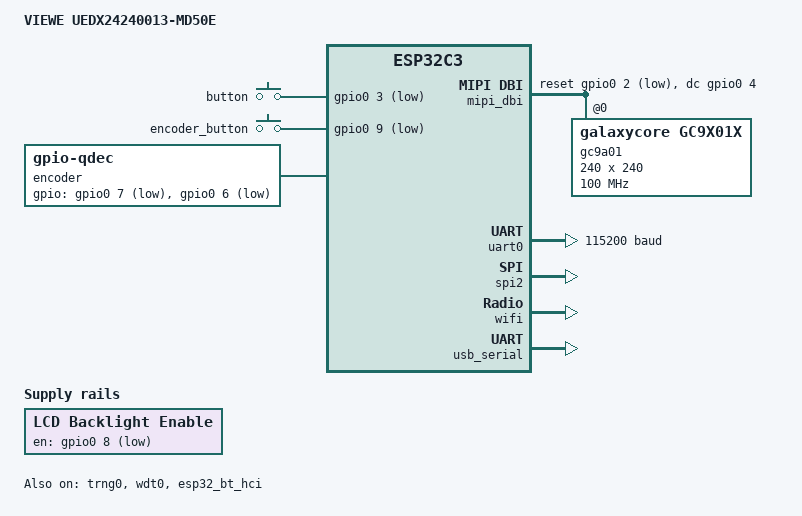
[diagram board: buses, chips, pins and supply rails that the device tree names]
/*
 * Copyright (c) 2024 Espressif Systems (Shanghai) Co., Ltd.
 * Copyright (c) 2026 VIEWE Display Co., Ltd.
 *
 * SPDX-License-Identifier: Apache-2.0
 */

/dts-v1/;

#include <zephyr/dt-bindings/display/panel.h>
#include <zephyr/dt-bindings/mipi_dbi/mipi_dbi.h>
#include <zephyr/dt-bindings/input/input-event-codes.h>
#include <zephyr/dt-bindings/input/esp32-touch-sensor-input.h>
#include <espressif/esp32c3/esp32c3_wroom_n4.dtsi>
#include <espressif/partitions_0x0_default.dtsi>
#include "uedx24240013_md50e-pinctrl.dtsi"

/ {
	model = "VIEWE UEDX24240013-MD50E";
	compatible = "viewe,uedx24240013_md50e", "espressif,esp32c3";

	chosen {
		zephyr,sram = &sram1;
		zephyr,console = &usb_serial;
		zephyr,shell-uart = &usb_serial;
		zephyr,flash = &flash0;
		zephyr,code-partition = &slot0_partition;
		zephyr,bt-hci = &esp32_bt_hci;
		zephyr,display = &gc9a01;
	};

	aliases {
		sw0 = &button;
		qdec0 = &encoder;
		watchdog0 = &wdt0;
	};

	keys: keys {
		compatible = "gpio-keys";
		debounce-interval-ms = <10>;

		button: button {
			gpios = <&gpio0 3 (GPIO_ACTIVE_LOW | GPIO_PULL_UP)>;
			zephyr,code = <INPUT_KEY_0>;
		};

		encoder_button: encoder_button {
			gpios = <&gpio0 9 (GPIO_ACTIVE_LOW | GPIO_PULL_UP)>;
			zephyr,code = <INPUT_KEY_ENTER>;
		};
	};

	encoder: encoder {
		compatible = "gpio-qdec";
		gpios = <&gpio0 7 (GPIO_ACTIVE_LOW | GPIO_PULL_UP)>,
			<&gpio0 6 (GPIO_ACTIVE_LOW | GPIO_PULL_UP)>;
		zephyr,axis = <INPUT_REL_WHEEL>;
		steps-per-period = <4>;
		sample-time-us = <2000>;
		idle-timeout-ms = <200>;
	};

	lcd_backlight_en {
		compatible = "regulator-fixed";
		regulator-name = "LCD Backlight Enable";
		enable-gpios = <&gpio0 8 GPIO_ACTIVE_LOW>;
		regulator-boot-on;
	};

	mipi_dbi {
		compatible = "zephyr,mipi-dbi-spi";
		status = "okay";
		#address-cells = <1>;
		#size-cells = <0>;
		spi-dev = <&spi2>;
		dc-gpios = <&gpio0 4 GPIO_ACTIVE_HIGH>;
		reset-gpios = <&gpio0 2 GPIO_ACTIVE_LOW>;
		write-only;

		gc9a01: gc9a01@0 {
			status = "okay";
			compatible = "galaxycore,gc9x01x";
			reg = <0>;
			mipi-max-frequency = <DT_FREQ_M(100)>;
			pixel-format = <PANEL_PIXEL_FORMAT_RGB_565>;
			display-inversion;
			width = <240>;
			height = <240>;
		};
	};
};

&timer0 {
	status = "disabled";
};

&timer1 {
	status = "disabled";
};

&trng0 {
	status = "okay";
};

&wdt0 {
	status = "okay";
};

&gpio0 {
	status = "okay";
};

&uart0 {
	status = "okay";
	current-speed = <115200>;
	pinctrl-0 = <&uart0_default>;
	pinctrl-names = "default";
};

&spi2 {
	#address-cells = <1>;
	#size-cells = <0>;
	status = "okay";
	pinctrl-0 = <&spim2_default>;
	pinctrl-names = "default";
};

&esp32_bt_hci {
	status = "okay";
};

&wifi {
	status = "okay";
};

&usb_serial {
	status = "okay";
};
